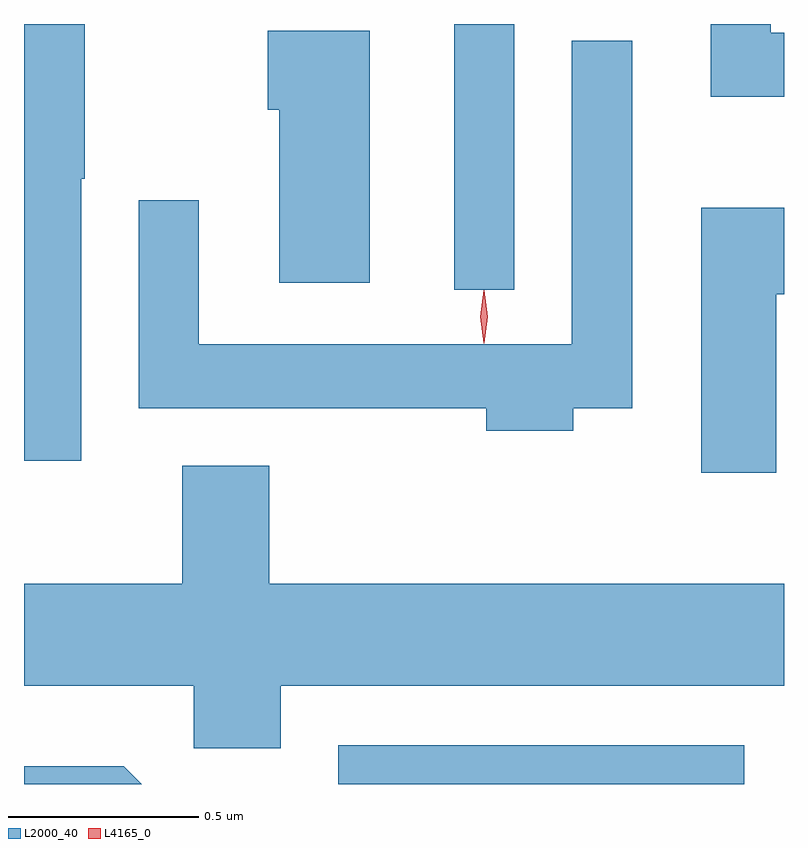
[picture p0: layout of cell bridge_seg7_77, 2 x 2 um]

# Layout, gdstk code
import gdstk
lib = gdstk.Library(unit=1e-6, precision=1e-09)
def R(c, l, rs):  # rectangles x0, y0, x1, y1
    for r in rs: c.add(gdstk.rectangle(r[:2], r[2:], *l))
def P(c, l, *ps):  # polygons
    for p in ps: c.add(gdstk.Polygon(p, *l))
L2000_40 = (2000, 40)
L4165_0 = (4165, 0)

bridge_seg7_77 = lib.new_cell('bridge_seg7_77')
R(bridge_seg7_77, L2000_40, [(1610.351,1791.757,1611.419,1791.859), (1610.656,1793.058,1610.814,1793.757)])
P(bridge_seg7_77, L2000_40, [(1609.674,1793.35),(1609.684,1793.35),(1609.684,1793.757),(1609.524,1793.757),(1609.524,1792.608),(1609.674,1792.608)],
  [(1611.524,1793.734),(1611.489,1793.734),(1611.489,1793.757),(1611.331,1793.757),(1611.331,1793.566),(1611.524,1793.566)],
  [(1610.434,1793.739),(1610.166,1793.739),(1610.166,1793.531),(1610.196,1793.531),(1610.196,1793.076),(1610.434,1793.076)],
  [(1610.969,1792.746),(1611.124,1792.746),(1611.124,1793.713),(1610.966,1793.713),(1610.966,1792.914),(1609.984,1792.914),(1609.984,1793.293),(1609.826,1793.293),(1609.826,1792.746),(1610.741,1792.746),(1610.741,1792.686),(1610.969,1792.686)],
  [(1611.504,1793.046),(1611.524,1793.046),(1611.524,1793.274),(1611.306,1793.274),(1611.306,1792.576),(1611.504,1792.576)],
  [(1610.199,1792.016),(1611.524,1792.016),(1611.524,1792.284),(1610.169,1792.284),(1610.169,1792.594),(1609.941,1792.594),(1609.941,1792.284),(1609.524,1792.284),(1609.524,1792.016),(1609.971,1792.016),(1609.971,1791.851),(1610.199,1791.851)],
  [(1609.787,1791.804),(1609.524,1791.804),(1609.524,1791.757),(1609.834,1791.757)])
P(bridge_seg7_77, L4165_0, [(1610.734,1792.917),(1610.734,1792.917),(1610.724,1792.986),(1610.734,1793.056),(1610.734,1793.056),(1610.735,1793.056),(1610.744,1792.986),(1610.735,1792.917)],
  [(1610.735,1792.919),(1610.734,1792.92),(1610.725,1792.986),(1610.734,1793.052),(1610.735,1793.053),(1610.735,1793.052),(1610.745,1792.986),(1610.735,1792.92)])

lib.write_gds('bridge_seg7_77.gds')
